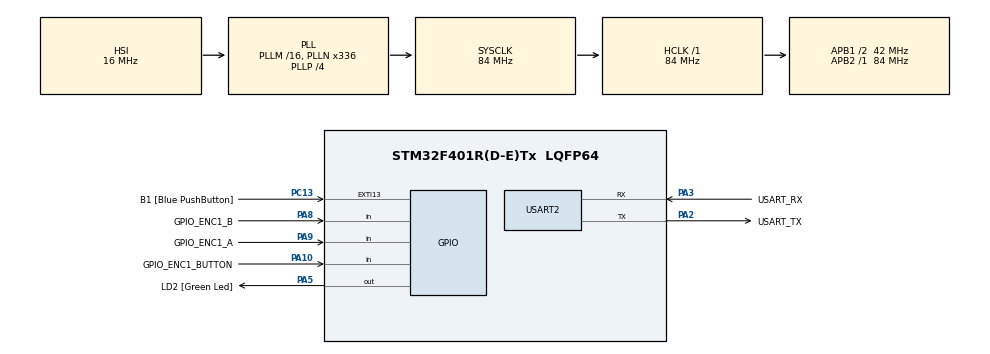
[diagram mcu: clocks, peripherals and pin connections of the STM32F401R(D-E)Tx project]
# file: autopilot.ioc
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FREERTOS.Tasks01=defaultTask,24,128,StartDefaultTask,Default,NULL,Dynamic,NULL,NULL
FREERTOS.configIDLE_SHOULD_YIELD=0
FREERTOS.configTICK_RATE_HZ=100
FREERTOS.configUSE_TASK_NOTIFICATIONS=0
Mcu.Family=STM32F4
Mcu.Name=STM32F401R(D-E)Tx
Mcu.Package=LQFP64
NVIC.PriorityGroup=NVIC_PRIORITYGROUP_4
PA10.GPIO_Label=GPIO_ENC1_BUTTON
PA10.Signal=GPIO_Input
PA13.GPIO_Label=TMS
PA13.Mode=Serial_Wire
PA13.Signal=SYS_JTMS-SWDIO
PA14.GPIO_Label=TCK
PA14.Mode=Serial_Wire
PA14.Signal=SYS_JTCK-SWCLK
PA2.GPIO_Label=USART_TX
PA2.GPIO_Mode=GPIO_MODE_AF_PP
PA2.GPIO_PuPd=GPIO_NOPULL
PA2.GPIO_Speed=GPIO_SPEED_FREQ_LOW
PA2.Mode=Asynchronous
PA2.Signal=USART2_TX
PA3.GPIO_Label=USART_RX
PA3.GPIO_Mode=GPIO_MODE_AF_PP
PA3.GPIO_PuPd=GPIO_NOPULL
PA3.GPIO_Speed=GPIO_SPEED_FREQ_LOW
PA3.Mode=Asynchronous
PA3.Signal=USART2_RX
PA5.GPIO_Label=LD2 [Green Led]
PA5.GPIO_Mode=GPIO_MODE_OUTPUT_PP
PA5.GPIO_PuPd=GPIO_NOPULL
PA5.GPIO_Speed=GPIO_SPEED_FREQ_LOW
PA5.Signal=GPIO_Output
PA8.GPIO_Label=GPIO_ENC1_B
PA8.Signal=GPIO_Input
PA9.GPIO_Label=GPIO_ENC1_A
PA9.Signal=GPIO_Input
PB3.GPIO_Label=SWO
PB3.Signal=SYS_JTDO-SWO
PC13-ANTI_TAMP.GPIO_Label=B1 [Blue PushButton]
PC13-ANTI_TAMP.GPIO_ModeDefaultEXTI=GPIO_MODE_IT_FALLING
PC13-ANTI_TAMP.GPIO_PuPd=GPIO_NOPULL
PC13-ANTI_TAMP.Signal=GPXTI13
PC14-OSC32_IN.Mode=LSE-External-Oscillator
PC14-OSC32_IN.Signal=RCC_OSC32_IN
PC15-OSC32_OUT.Mode=LSE-External-Oscillator
PC15-OSC32_OUT.Signal=RCC_OSC32_OUT
PH0\ -\ OSC_IN.Mode=HSE-External-Clock-Source
PH0\ -\ OSC_IN.Signal=RCC_OSC_IN
PH1\ -\ OSC_OUT.Mode=HSE-External-Clock-Source
PH1\ -\ OSC_OUT.Signal=RCC_OSC_OUT
ProjectManager.HeapSize=0x200
ProjectManager.StackSize=0x400
ProjectManager.TargetToolchain=STM32CubeIDE
RCC.48MHZClocksFreq_Value=48000000
RCC.AHBFreq_Value=84000000
RCC.APB1CLKDivider=RCC_HCLK_DIV2
RCC.APB1Freq_Value=42000000
RCC.APB1TimFreq_Value=84000000
RCC.APB2Freq_Value=84000000
RCC.APB2TimFreq_Value=84000000
RCC.CortexFreq_Value=84000000
RCC.HCLKFreq_Value=84000000
RCC.HSE_VALUE=8000000
RCC.HSI_VALUE=16000000
RCC.PLLN=336
RCC.PLLP=RCC_PLLP_DIV4
RCC.PLLQ=7
RCC.SYSCLKFreq_VALUE=84000000
RCC.SYSCLKSource=RCC_SYSCLKSOURCE_PLLCLK
RCC.VCOOutputFreq_Value=336000000
USART2.VirtualMode=VM_ASYNC
VP_FREERTOS_VS_CMSIS_V2.Mode=CMSIS_V2
board=NUCLEO-F401RE

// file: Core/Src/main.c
/* USER CODE BEGIN Header */
/**
 ******************************************************************************
 * @file           : main.c
 * @brief          : Main program body
 ******************************************************************************
 * @attention
 *
 * <h2><center>&copy; Copyright (c) 2020 STMicroelectronics.
 * All rights reserved.</center></h2>
 *
 * This software component is licensed by ST under BSD 3-Clause license,
 * the "License"; You may not use this file except in compliance with the
 * License. You may obtain a copy of the License at:
 *                        opensource.org/licenses/BSD-3-Clause
 *
 ******************************************************************************
 */
/* USER CODE END Header */
#include "main.h"
#include "cmsis_os.h"

/* USER CODE BEGIN Includes */
#include "button.h"
#include "encoder.h"
/* USER CODE END Includes */

/* USER CODE BEGIN PD */
#define ENCODER_DEBOUNCE_COUNT 0
#define TRUE                   1
#define FALSE                  0
typedef uint8_t bool_t;

/* USER CODE END PD */

UART_HandleTypeDef huart2;

/* Definitions for defaultTask */
osThreadId_t defaultTaskHandle;
const osThreadAttr_t defaultTask_attributes = {
    .name = "defaultTask",
    .priority = (osPriority_t) osPriorityNormal,
    .stack_size = 128 * 4
};

void SystemClock_Config(void);
static void MX_GPIO_Init(void);
static void MX_USART2_UART_Init(void);
void StartDefaultTask(void *argument);

/* USER CODE BEGIN PFP */
void readInputTask(void *argument);
/* USER CODE END PFP */

/* USER CODE BEGIN 0 */
PinState_t readButt1(void){
  PinState_t ret = HAL_GPIO_ReadPin(B1_GPIO_Port, B1_Pin);
  return ret;
}
PinState_t readButt2(void){
  PinState_t ret = HAL_GPIO_ReadPin(GPIO_ENC1_BUTTON_GPIO_Port, GPIO_ENC1_BUTTON_Pin);
  return ret;
}
PinState_t readEnc1A(void){
  PinState_t ret = HAL_GPIO_ReadPin(GPIO_ENC1_A_GPIO_Port, GPIO_ENC1_A_Pin);
  return ret;
}

PinState_t readEnc1B(void){
  PinState_t ret = HAL_GPIO_ReadPin(GPIO_ENC1_B_GPIO_Port, GPIO_ENC1_B_Pin);
  return ret;
}

void onB1Push(void){
  HAL_GPIO_TogglePin(LD2_GPIO_Port, LD2_Pin);
}

void onTick(Encoder_t const * const enc){
  HAL_GPIO_TogglePin(LD2_GPIO_Port, LD2_Pin);
}
Encoder_t enc1;
/* USER CODE END 0 */

int main(void)
{

  /* MCU Configuration--------------------------------------------------------*/

  /* Reset of all peripherals, Initializes the Flash interface and the Systick. */
  HAL_Init();

  /* Configure the system clock */
  SystemClock_Config();

  /* Initialize all configured peripherals */
  MX_GPIO_Init();
  MX_USART2_UART_Init();

  /* Init scheduler */

  /* Create the thread(s) */
  /* creation of defaultTask */

  /* USER CODE BEGIN RTOS_THREADS */
  xTaskCreate(readInputTask, "readInputs", 240, NULL, 1, NULL);
  /* USER CODE END RTOS_THREADS */

  /* USER CODE BEGIN RTOS_EVENTS */
  //osKernelStart();
  vTaskStartScheduler();
  /* USER CODE END RTOS_EVENTS */

  /* Start scheduler */

  /* We should never get here as control is now taken by the scheduler */
  /* Infinite loop */
  /* USER CODE BEGIN WHILE */
  HAL_GPIO_TogglePin(LD2_GPIO_Port, LD2_Pin);
  while (1)
  {
    /* USER CODE END WHILE */
    HAL_Delay(5000);
  }
}

void SystemClock_Config(void)
{
  RCC_OscInitTypeDef RCC_OscInitStruct = {0};
  RCC_ClkInitTypeDef RCC_ClkInitStruct = {0};

  /** Configure the main internal regulator output voltage
   */
  __HAL_RCC_PWR_CLK_ENABLE();
  __HAL_PWR_VOLTAGESCALING_CONFIG(PWR_REGULATOR_VOLTAGE_SCALE2);
  /** Initializes the RCC Oscillators according to the specified parameters
   * in the RCC_OscInitTypeDef structure.
   */
  RCC_OscInitStruct.OscillatorType = RCC_OSCILLATORTYPE_HSI;
  RCC_OscInitStruct.HSIState = RCC_HSI_ON;
  RCC_OscInitStruct.HSICalibrationValue = RCC_HSICALIBRATION_DEFAULT;
  RCC_OscInitStruct.PLL.PLLState = RCC_PLL_ON;
  RCC_OscInitStruct.PLL.PLLSource = RCC_PLLSOURCE_HSI;
  RCC_OscInitStruct.PLL.PLLM = 16;
  RCC_OscInitStruct.PLL.PLLN = 336;
  RCC_OscInitStruct.PLL.PLLP = RCC_PLLP_DIV4;
  RCC_OscInitStruct.PLL.PLLQ = 7;
  if (HAL_RCC_OscConfig(&RCC_OscInitStruct) != HAL_OK)
  {
    Error_Handler();
  }
  /** Initializes the CPU, AHB and APB buses clocks
   */
  RCC_ClkInitStruct.ClockType = RCC_CLOCKTYPE_HCLK|RCC_CLOCKTYPE_SYSCLK
      |RCC_CLOCKTYPE_PCLK1|RCC_CLOCKTYPE_PCLK2;
  RCC_ClkInitStruct.SYSCLKSource = RCC_SYSCLKSOURCE_PLLCLK;
  RCC_ClkInitStruct.AHBCLKDivider = RCC_SYSCLK_DIV1;
  RCC_ClkInitStruct.APB1CLKDivider = RCC_HCLK_DIV2;
  RCC_ClkInitStruct.APB2CLKDivider = RCC_HCLK_DIV1;

  if (HAL_RCC_ClockConfig(&RCC_ClkInitStruct, FLASH_LATENCY_2) != HAL_OK)
  {
    Error_Handler();
  }
}

static void MX_USART2_UART_Init(void)
{

  huart2.Instance = USART2;
  huart2.Init.BaudRate = 115200;
  huart2.Init.WordLength = UART_WORDLENGTH_8B;
  huart2.Init.StopBits = UART_STOPBITS_1;
  huart2.Init.Parity = UART_PARITY_NONE;
  huart2.Init.Mode = UART_MODE_TX_RX;
  huart2.Init.HwFlowCtl = UART_HWCONTROL_NONE;
  huart2.Init.OverSampling = UART_OVERSAMPLING_16;
  if (HAL_UART_Init(&huart2) != HAL_OK)
  {
    Error_Handler();
  }

}

static void MX_GPIO_Init(void)
{
  GPIO_InitTypeDef GPIO_InitStruct = {0};

  /* GPIO Ports Clock Enable */
  __HAL_RCC_GPIOC_CLK_ENABLE();
  __HAL_RCC_GPIOH_CLK_ENABLE();
  __HAL_RCC_GPIOA_CLK_ENABLE();
  __HAL_RCC_GPIOB_CLK_ENABLE();

  /*Configure GPIO pin Output Level */
  HAL_GPIO_WritePin(LD2_GPIO_Port, LD2_Pin, GPIO_PIN_RESET);

  /*Configure GPIO pin : B1_Pin */
  GPIO_InitStruct.Pin = B1_Pin;
  GPIO_InitStruct.Mode = GPIO_MODE_IT_FALLING;
  GPIO_InitStruct.Pull = GPIO_NOPULL;
  HAL_GPIO_Init(B1_GPIO_Port, &GPIO_InitStruct);

  /*Configure GPIO pin : LD2_Pin */
  GPIO_InitStruct.Pin = LD2_Pin;
  GPIO_InitStruct.Mode = GPIO_MODE_OUTPUT_PP;
  GPIO_InitStruct.Pull = GPIO_NOPULL;
  GPIO_InitStruct.Speed = GPIO_SPEED_FREQ_LOW;
  HAL_GPIO_Init(LD2_GPIO_Port, &GPIO_InitStruct);

  /*Configure GPIO pins : GPIO_ENC1_B_Pin GPIO_ENC1_A_Pin GPIO_ENC1_BUTTON_Pin */
  GPIO_InitStruct.Pin = GPIO_ENC1_B_Pin|GPIO_ENC1_A_Pin|GPIO_ENC1_BUTTON_Pin;
  GPIO_InitStruct.Mode = GPIO_MODE_INPUT;
  GPIO_InitStruct.Pull = GPIO_NOPULL;
  HAL_GPIO_Init(GPIOA, &GPIO_InitStruct);

}

void readInputTask(void *argument)
{
  /* USER CODE BEGIN 5 */
  encoderInitStruct(&enc1, 1,readEnc1A, readEnc1B, onTick);
  buttonAddByUID(0, readButt1, NULL, NULL, onB1Push,3000);
  buttonAddByUID(1, readButt2, NULL, NULL, onB1Push,1000);
  portTickType lastWakeTime = xTaskGetTickCount();
  /* Infinite loop */
  while(TRUE){

    portTickType time = xTaskGetTickCount() * portTICK_RATE_MS;
    encoderUpdateRawValues(&enc1);
    buttonUpdateAllStates(time);
    buttonUpdateAllStates(time);

    vTaskDelayUntil(&lastWakeTime, 4/portTICK_RATE_MS);
  }
  // Delete self if we ever reach this point
  vTaskDelete(NULL);
  /* USER CODE END 5 */
}

void Error_Handler(void)
{
  __disable_irq();
  while (1)
  {
  }
}
